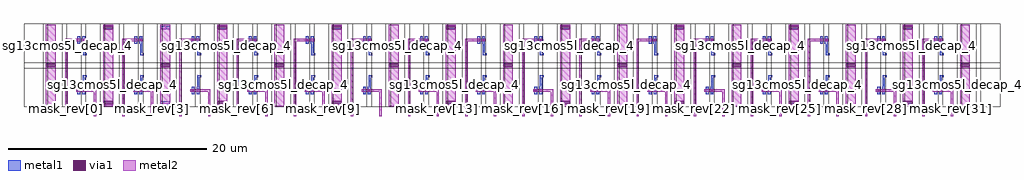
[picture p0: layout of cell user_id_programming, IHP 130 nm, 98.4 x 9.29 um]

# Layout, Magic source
magic
tech ihp-sg13cmos5l
magscale 1 2
<< metal1 >>
rect 2747 1750 2947 1810
rect 1076 1457 1133 1606
rect 1173 1459 1230 1606
rect 1188 1270 1230 1459
rect 2228 1457 2285 1606
rect 2325 1459 2382 1606
rect 2340 1270 2382 1459
rect 3380 1457 3437 1606
rect 3477 1459 3534 1606
rect 3492 1270 3534 1459
rect 4532 1457 4589 1606
rect 4629 1459 4686 1606
rect 4644 1270 4686 1459
rect 5684 1457 5741 1606
rect 5781 1459 5838 1606
rect 5796 1270 5838 1459
rect 6836 1457 6893 1606
rect 6933 1459 6990 1606
rect 6948 1270 6990 1459
rect 7988 1457 8045 1606
rect 8085 1459 8142 1606
rect 8100 1270 8142 1459
rect 9140 1457 9197 1606
rect 9237 1459 9294 1606
rect 9252 1270 9294 1459
rect 10292 1457 10349 1606
rect 10389 1459 10446 1606
rect 10404 1270 10446 1459
rect 11444 1457 11501 1606
rect 11541 1459 11598 1606
rect 11556 1270 11598 1459
rect 12596 1457 12653 1606
rect 12693 1459 12750 1606
rect 12708 1270 12750 1459
rect 13748 1457 13805 1606
rect 13845 1459 13902 1606
rect 13860 1270 13902 1459
rect 14900 1457 14957 1606
rect 14997 1459 15054 1606
rect 15012 1270 15054 1459
rect 16052 1457 16109 1606
rect 16149 1459 16206 1606
rect 16164 1270 16206 1459
rect 17204 1457 17261 1606
rect 17301 1459 17358 1606
rect 17316 1270 17358 1459
rect 18356 1457 18413 1606
rect 18453 1459 18510 1606
rect 18468 1270 18510 1459
rect 1188 1226 1267 1270
rect 2340 1226 2419 1270
rect 3492 1226 3571 1270
rect 4644 1226 4723 1270
rect 5796 1226 5875 1270
rect 6948 1226 7027 1270
rect 8100 1226 8179 1270
rect 9252 1226 9331 1270
rect 10404 1226 10483 1270
rect 11556 1226 11635 1270
rect 12708 1226 12787 1270
rect 13860 1226 13939 1270
rect 15012 1226 15091 1270
rect 16164 1226 16243 1270
rect 17316 1226 17395 1270
rect 18468 1226 18547 1270
rect 1188 778 1267 822
rect 2340 778 2419 822
rect 3492 778 3571 822
rect 4644 778 4723 822
rect 5796 778 5875 822
rect 6948 778 7027 822
rect 8100 778 8179 822
rect 9252 778 9331 822
rect 10404 778 10483 822
rect 11556 778 11635 822
rect 12708 778 12787 822
rect 13860 778 13939 822
rect 15012 778 15091 822
rect 16164 778 16243 822
rect 17316 778 17395 822
rect 18468 778 18547 822
rect 1076 442 1133 591
rect 1188 589 1230 778
rect 1175 442 1230 589
rect 2228 442 2285 591
rect 2340 589 2382 778
rect 2327 442 2382 589
rect 3380 442 3437 591
rect 3492 589 3534 778
rect 3479 442 3534 589
rect 4532 442 4589 591
rect 4644 589 4686 778
rect 4631 442 4686 589
rect 5684 442 5741 591
rect 5796 589 5838 778
rect 5783 442 5838 589
rect 6836 442 6893 591
rect 6948 589 6990 778
rect 6935 442 6990 589
rect 7988 442 8045 591
rect 8100 589 8142 778
rect 8087 442 8142 589
rect 9140 442 9197 591
rect 9252 589 9294 778
rect 9239 442 9294 589
rect 10292 442 10349 591
rect 10404 589 10446 778
rect 10391 442 10446 589
rect 11444 442 11501 591
rect 11556 589 11598 778
rect 11543 442 11598 589
rect 12596 442 12653 591
rect 12708 589 12750 778
rect 12695 442 12750 589
rect 13748 442 13805 591
rect 13860 589 13902 778
rect 13847 442 13902 589
rect 14900 442 14957 591
rect 15012 589 15054 778
rect 14999 442 15054 589
rect 16052 442 16109 591
rect 16164 589 16206 778
rect 16151 442 16206 589
rect 17204 442 17261 591
rect 17316 589 17358 778
rect 17303 442 17358 589
rect 18356 442 18413 591
rect 18468 589 18510 778
rect 18455 442 18510 589
rect 2747 238 2947 298
<< via1 >>
rect 1595 1750 1795 1810
rect 3899 1750 4099 1810
rect 6203 1750 6403 1810
rect 8507 1750 8707 1810
rect 10811 1750 11011 1810
rect 13115 1750 13315 1810
rect 15419 1750 15619 1810
rect 17723 1750 17923 1810
rect 443 994 643 1054
rect 2747 994 2947 1054
rect 5051 994 5251 1054
rect 7355 994 7555 1054
rect 9659 994 9859 1054
rect 11963 994 12163 1054
rect 14267 994 14467 1054
rect 16571 994 16771 1054
rect 18875 994 19075 1054
rect 1595 238 1795 298
rect 3899 238 4099 298
rect 6203 238 6403 298
rect 8507 238 8707 298
rect 10811 238 11011 298
rect 13115 238 13315 298
rect 15419 238 15619 298
rect 17723 238 17923 298
<< metal2 >>
rect 443 1054 643 1845
rect 1595 1810 1795 1845
rect 443 198 643 994
rect 831 1508 1251 1556
rect 831 0 879 1508
rect 1049 492 1455 540
rect 1407 0 1455 492
rect 1595 298 1795 1750
rect 1595 198 1795 238
rect 1983 1508 2403 1556
rect 1983 0 2031 1508
rect 2747 1054 2947 1845
rect 3899 1810 4099 1845
rect 2201 492 2607 540
rect 2559 0 2607 492
rect 2747 198 2947 994
rect 3135 1508 3555 1556
rect 3135 0 3183 1508
rect 3353 492 3759 540
rect 3711 0 3759 492
rect 3899 298 4099 1750
rect 3899 198 4099 238
rect 4287 1508 4707 1556
rect 4287 0 4335 1508
rect 5051 1054 5251 1845
rect 6203 1810 6403 1845
rect 4505 492 4911 540
rect 4863 0 4911 492
rect 5051 198 5251 994
rect 5439 1508 5859 1556
rect 5439 0 5487 1508
rect 5657 492 6063 540
rect 6015 0 6063 492
rect 6203 298 6403 1750
rect 6203 198 6403 238
rect 6591 1508 7011 1556
rect 6591 0 6639 1508
rect 7355 1054 7555 1845
rect 8507 1810 8707 1845
rect 6809 492 7215 540
rect 7167 0 7215 492
rect 7355 198 7555 994
rect 7743 1508 8163 1556
rect 7743 0 7791 1508
rect 7961 492 8367 540
rect 8319 0 8367 492
rect 8507 298 8707 1750
rect 8507 198 8707 238
rect 8895 1508 9315 1556
rect 8895 0 8943 1508
rect 9659 1054 9859 1845
rect 10811 1810 11011 1845
rect 9113 492 9519 540
rect 9471 0 9519 492
rect 9659 198 9859 994
rect 10047 1508 10467 1556
rect 10047 0 10095 1508
rect 10265 492 10671 540
rect 10623 0 10671 492
rect 10811 298 11011 1750
rect 10811 198 11011 238
rect 11199 1508 11619 1556
rect 11199 0 11247 1508
rect 11963 1054 12163 1845
rect 13115 1810 13315 1845
rect 11417 492 11823 540
rect 11775 0 11823 492
rect 11963 198 12163 994
rect 12351 1508 12771 1556
rect 12351 0 12399 1508
rect 12569 492 12975 540
rect 12927 0 12975 492
rect 13115 298 13315 1750
rect 13115 198 13315 238
rect 13503 1508 13923 1556
rect 13503 0 13551 1508
rect 14267 1054 14467 1845
rect 15419 1810 15619 1845
rect 13721 492 14127 540
rect 14079 0 14127 492
rect 14267 198 14467 994
rect 14655 1508 15075 1556
rect 14655 0 14703 1508
rect 14873 492 15279 540
rect 15231 0 15279 492
rect 15419 298 15619 1750
rect 15419 198 15619 238
rect 15807 1508 16227 1556
rect 15807 0 15855 1508
rect 16571 1054 16771 1845
rect 17723 1810 17923 1845
rect 16025 492 16431 540
rect 16383 0 16431 492
rect 16571 198 16771 994
rect 16959 1508 17379 1556
rect 16959 0 17007 1508
rect 17177 492 17583 540
rect 17535 0 17583 492
rect 17723 298 17923 1750
rect 17723 198 17923 238
rect 18111 1508 18531 1556
rect 18111 0 18159 1508
rect 18875 1054 19075 1845
rect 18329 492 18735 540
rect 18687 0 18735 492
rect 18875 198 19075 994
use sg13cmos5l_decap_4  sg13cmos5l_decap_4_0 sg13cmos5l_stdcell
transform 1 0 48 0 1 1024
box -48 -56 432 834
use sg13cmos5l_decap_4  sg13cmos5l_decap_4_1
transform 1 0 432 0 1 1024
box -48 -56 432 834
use sg13cmos5l_decap_4  sg13cmos5l_decap_4_2
transform 1 0 1584 0 1 1024
box -48 -56 432 834
use sg13cmos5l_decap_4  sg13cmos5l_decap_4_3
transform 1 0 2736 0 1 1024
box -48 -56 432 834
use sg13cmos5l_decap_4  sg13cmos5l_decap_4_4
transform 1 0 3888 0 1 1024
box -48 -56 432 834
use sg13cmos5l_decap_4  sg13cmos5l_decap_4_5
transform 1 0 5040 0 1 1024
box -48 -56 432 834
use sg13cmos5l_decap_4  sg13cmos5l_decap_4_6
transform 1 0 6192 0 1 1024
box -48 -56 432 834
use sg13cmos5l_decap_4  sg13cmos5l_decap_4_7
transform 1 0 7344 0 1 1024
box -48 -56 432 834
use sg13cmos5l_decap_4  sg13cmos5l_decap_4_8
transform 1 0 8496 0 1 1024
box -48 -56 432 834
use sg13cmos5l_decap_4  sg13cmos5l_decap_4_9
transform 1 0 9648 0 1 1024
box -48 -56 432 834
use sg13cmos5l_decap_4  sg13cmos5l_decap_4_10
transform 1 0 10800 0 1 1024
box -48 -56 432 834
use sg13cmos5l_decap_4  sg13cmos5l_decap_4_11
transform 1 0 11952 0 1 1024
box -48 -56 432 834
use sg13cmos5l_decap_4  sg13cmos5l_decap_4_12
transform 1 0 13104 0 1 1024
box -48 -56 432 834
use sg13cmos5l_decap_4  sg13cmos5l_decap_4_13
transform 1 0 14256 0 1 1024
box -48 -56 432 834
use sg13cmos5l_decap_4  sg13cmos5l_decap_4_14
transform 1 0 15408 0 1 1024
box -48 -56 432 834
use sg13cmos5l_decap_4  sg13cmos5l_decap_4_15
transform 1 0 16560 0 1 1024
box -48 -56 432 834
use sg13cmos5l_decap_4  sg13cmos5l_decap_4_16
transform 1 0 17712 0 1 1024
box -48 -56 432 834
use sg13cmos5l_decap_4  sg13cmos5l_decap_4_17
transform 1 0 18864 0 1 1024
box -48 -56 432 834
use sg13cmos5l_decap_4  sg13cmos5l_decap_4_18
transform 1 0 19248 0 1 1024
box -48 -56 432 834
use sg13cmos5l_decap_4  sg13cmos5l_decap_4_21
transform 1 0 18864 0 -1 1024
box -48 -56 432 834
use sg13cmos5l_decap_4  sg13cmos5l_decap_4_22
transform 1 0 19248 0 -1 1024
box -48 -56 432 834
use sg13cmos5l_decap_4  sg13cmos5l_decap_4_23
transform 1 0 17712 0 -1 1024
box -48 -56 432 834
use sg13cmos5l_decap_4  sg13cmos5l_decap_4_24
transform 1 0 16560 0 -1 1024
box -48 -56 432 834
use sg13cmos5l_decap_4  sg13cmos5l_decap_4_25
transform 1 0 15408 0 -1 1024
box -48 -56 432 834
use sg13cmos5l_decap_4  sg13cmos5l_decap_4_26
transform 1 0 14256 0 -1 1024
box -48 -56 432 834
use sg13cmos5l_decap_4  sg13cmos5l_decap_4_27
transform 1 0 13104 0 -1 1024
box -48 -56 432 834
use sg13cmos5l_decap_4  sg13cmos5l_decap_4_28
transform 1 0 11952 0 -1 1024
box -48 -56 432 834
use sg13cmos5l_decap_4  sg13cmos5l_decap_4_29
transform 1 0 10800 0 -1 1024
box -48 -56 432 834
use sg13cmos5l_decap_4  sg13cmos5l_decap_4_30
transform 1 0 9648 0 -1 1024
box -48 -56 432 834
use sg13cmos5l_decap_4  sg13cmos5l_decap_4_31
transform 1 0 8496 0 -1 1024
box -48 -56 432 834
use sg13cmos5l_decap_4  sg13cmos5l_decap_4_32
transform 1 0 7344 0 -1 1024
box -48 -56 432 834
use sg13cmos5l_decap_4  sg13cmos5l_decap_4_33
transform 1 0 6192 0 -1 1024
box -48 -56 432 834
use sg13cmos5l_decap_4  sg13cmos5l_decap_4_34
transform 1 0 5040 0 -1 1024
box -48 -56 432 834
use sg13cmos5l_decap_4  sg13cmos5l_decap_4_35
transform 1 0 3888 0 -1 1024
box -48 -56 432 834
use sg13cmos5l_decap_4  sg13cmos5l_decap_4_36
transform 1 0 2736 0 -1 1024
box -48 -56 432 834
use sg13cmos5l_decap_4  sg13cmos5l_decap_4_37
transform 1 0 1584 0 -1 1024
box -48 -56 432 834
use sg13cmos5l_decap_4  sg13cmos5l_decap_4_38
transform 1 0 432 0 -1 1024
box -48 -56 432 834
use sg13cmos5l_decap_4  sg13cmos5l_decap_4_39
transform 1 0 48 0 -1 1024
box -48 -56 432 834
use sg13cmos5l_tiehi  sg13cmos5l_tiehi_0 sg13cmos5l_stdcell
transform 1 0 816 0 1 1024
box -48 -56 432 834
use sg13cmos5l_tiehi  sg13cmos5l_tiehi_1
transform 1 0 1968 0 1 1024
box -48 -56 432 834
use sg13cmos5l_tiehi  sg13cmos5l_tiehi_2
transform 1 0 3120 0 1 1024
box -48 -56 432 834
use sg13cmos5l_tiehi  sg13cmos5l_tiehi_3
transform 1 0 4272 0 1 1024
box -48 -56 432 834
use sg13cmos5l_tiehi  sg13cmos5l_tiehi_4
transform 1 0 5424 0 1 1024
box -48 -56 432 834
use sg13cmos5l_tiehi  sg13cmos5l_tiehi_5
transform 1 0 6576 0 1 1024
box -48 -56 432 834
use sg13cmos5l_tiehi  sg13cmos5l_tiehi_6
transform 1 0 7728 0 1 1024
box -48 -56 432 834
use sg13cmos5l_tiehi  sg13cmos5l_tiehi_7
transform 1 0 8880 0 1 1024
box -48 -56 432 834
use sg13cmos5l_tiehi  sg13cmos5l_tiehi_8
transform 1 0 10032 0 1 1024
box -48 -56 432 834
use sg13cmos5l_tiehi  sg13cmos5l_tiehi_9
transform 1 0 11184 0 1 1024
box -48 -56 432 834
use sg13cmos5l_tiehi  sg13cmos5l_tiehi_10
transform 1 0 12336 0 1 1024
box -48 -56 432 834
use sg13cmos5l_tiehi  sg13cmos5l_tiehi_11
transform 1 0 13488 0 1 1024
box -48 -56 432 834
use sg13cmos5l_tiehi  sg13cmos5l_tiehi_12
transform 1 0 14640 0 1 1024
box -48 -56 432 834
use sg13cmos5l_tiehi  sg13cmos5l_tiehi_13
transform 1 0 15792 0 1 1024
box -48 -56 432 834
use sg13cmos5l_tiehi  sg13cmos5l_tiehi_14
transform 1 0 16944 0 1 1024
box -48 -56 432 834
use sg13cmos5l_tiehi  sg13cmos5l_tiehi_15
transform 1 0 18096 0 1 1024
box -48 -56 432 834
use sg13cmos5l_tiehi  sg13cmos5l_tiehi_16
transform 1 0 18096 0 -1 1024
box -48 -56 432 834
use sg13cmos5l_tiehi  sg13cmos5l_tiehi_17
transform 1 0 16944 0 -1 1024
box -48 -56 432 834
use sg13cmos5l_tiehi  sg13cmos5l_tiehi_18
transform 1 0 15792 0 -1 1024
box -48 -56 432 834
use sg13cmos5l_tiehi  sg13cmos5l_tiehi_19
transform 1 0 14640 0 -1 1024
box -48 -56 432 834
use sg13cmos5l_tiehi  sg13cmos5l_tiehi_20
transform 1 0 13488 0 -1 1024
box -48 -56 432 834
use sg13cmos5l_tiehi  sg13cmos5l_tiehi_21
transform 1 0 12336 0 -1 1024
box -48 -56 432 834
use sg13cmos5l_tiehi  sg13cmos5l_tiehi_22
transform 1 0 11184 0 -1 1024
box -48 -56 432 834
use sg13cmos5l_tiehi  sg13cmos5l_tiehi_23
transform 1 0 10032 0 -1 1024
box -48 -56 432 834
use sg13cmos5l_tiehi  sg13cmos5l_tiehi_24
transform 1 0 8880 0 -1 1024
box -48 -56 432 834
use sg13cmos5l_tiehi  sg13cmos5l_tiehi_25
transform 1 0 7728 0 -1 1024
box -48 -56 432 834
use sg13cmos5l_tiehi  sg13cmos5l_tiehi_26
transform 1 0 6576 0 -1 1024
box -48 -56 432 834
use sg13cmos5l_tiehi  sg13cmos5l_tiehi_27
transform 1 0 5424 0 -1 1024
box -48 -56 432 834
use sg13cmos5l_tiehi  sg13cmos5l_tiehi_28
transform 1 0 4272 0 -1 1024
box -48 -56 432 834
use sg13cmos5l_tiehi  sg13cmos5l_tiehi_29
transform 1 0 3120 0 -1 1024
box -48 -56 432 834
use sg13cmos5l_tiehi  sg13cmos5l_tiehi_30
transform 1 0 1968 0 -1 1024
box -48 -56 432 834
use sg13cmos5l_tiehi  sg13cmos5l_tiehi_31
transform 1 0 816 0 -1 1024
box -48 -56 432 834
use sg13cmos5l_tielo  sg13cmos5l_tielo_0 sg13cmos5l_stdcell
transform -1 0 1584 0 1 1024
box -48 -56 432 834
use sg13cmos5l_tielo  sg13cmos5l_tielo_1
transform -1 0 2736 0 1 1024
box -48 -56 432 834
use sg13cmos5l_tielo  sg13cmos5l_tielo_2
transform -1 0 3888 0 1 1024
box -48 -56 432 834
use sg13cmos5l_tielo  sg13cmos5l_tielo_3
transform -1 0 5040 0 1 1024
box -48 -56 432 834
use sg13cmos5l_tielo  sg13cmos5l_tielo_4
transform -1 0 6192 0 1 1024
box -48 -56 432 834
use sg13cmos5l_tielo  sg13cmos5l_tielo_5
transform -1 0 7344 0 1 1024
box -48 -56 432 834
use sg13cmos5l_tielo  sg13cmos5l_tielo_6
transform -1 0 8496 0 1 1024
box -48 -56 432 834
use sg13cmos5l_tielo  sg13cmos5l_tielo_7
transform -1 0 9648 0 1 1024
box -48 -56 432 834
use sg13cmos5l_tielo  sg13cmos5l_tielo_8
transform -1 0 10800 0 1 1024
box -48 -56 432 834
use sg13cmos5l_tielo  sg13cmos5l_tielo_9
transform -1 0 11952 0 1 1024
box -48 -56 432 834
use sg13cmos5l_tielo  sg13cmos5l_tielo_10
transform -1 0 13104 0 1 1024
box -48 -56 432 834
use sg13cmos5l_tielo  sg13cmos5l_tielo_11
transform -1 0 14256 0 1 1024
box -48 -56 432 834
use sg13cmos5l_tielo  sg13cmos5l_tielo_12
transform -1 0 15408 0 1 1024
box -48 -56 432 834
use sg13cmos5l_tielo  sg13cmos5l_tielo_13
transform -1 0 16560 0 1 1024
box -48 -56 432 834
use sg13cmos5l_tielo  sg13cmos5l_tielo_14
transform -1 0 17712 0 1 1024
box -48 -56 432 834
use sg13cmos5l_tielo  sg13cmos5l_tielo_15
transform -1 0 18864 0 1 1024
box -48 -56 432 834
use sg13cmos5l_tielo  sg13cmos5l_tielo_16
transform -1 0 18864 0 -1 1024
box -48 -56 432 834
use sg13cmos5l_tielo  sg13cmos5l_tielo_17
transform -1 0 17712 0 -1 1024
box -48 -56 432 834
use sg13cmos5l_tielo  sg13cmos5l_tielo_18
transform -1 0 16560 0 -1 1024
box -48 -56 432 834
use sg13cmos5l_tielo  sg13cmos5l_tielo_19
transform -1 0 15408 0 -1 1024
box -48 -56 432 834
use sg13cmos5l_tielo  sg13cmos5l_tielo_20
transform -1 0 14256 0 -1 1024
box -48 -56 432 834
use sg13cmos5l_tielo  sg13cmos5l_tielo_21
transform -1 0 13104 0 -1 1024
box -48 -56 432 834
use sg13cmos5l_tielo  sg13cmos5l_tielo_22
transform -1 0 11952 0 -1 1024
box -48 -56 432 834
use sg13cmos5l_tielo  sg13cmos5l_tielo_23
transform -1 0 10800 0 -1 1024
box -48 -56 432 834
use sg13cmos5l_tielo  sg13cmos5l_tielo_24
transform -1 0 9648 0 -1 1024
box -48 -56 432 834
use sg13cmos5l_tielo  sg13cmos5l_tielo_25
transform -1 0 8496 0 -1 1024
box -48 -56 432 834
use sg13cmos5l_tielo  sg13cmos5l_tielo_26
transform -1 0 7344 0 -1 1024
box -48 -56 432 834
use sg13cmos5l_tielo  sg13cmos5l_tielo_27
transform -1 0 6192 0 -1 1024
box -48 -56 432 834
use sg13cmos5l_tielo  sg13cmos5l_tielo_28
transform -1 0 5040 0 -1 1024
box -48 -56 432 834
use sg13cmos5l_tielo  sg13cmos5l_tielo_29
transform -1 0 3888 0 -1 1024
box -48 -56 432 834
use sg13cmos5l_tielo  sg13cmos5l_tielo_30
transform -1 0 2736 0 -1 1024
box -48 -56 432 834
use sg13cmos5l_tielo  sg13cmos5l_tielo_31
transform -1 0 1584 0 -1 1024
box -48 -56 432 834
use user_id_vias  user_id_vias_0
transform 1 0 1084 0 1 492
box 97 -5 17426 1069
<< labels >>
flabel metal2 831 0 879 300 0 FreeSans 480 90 0 0 mask_rev[0]
port 1 nsew
flabel metal2 1407 0 1455 300 0 FreeSans 480 90 0 0 mask_rev[1]
port 2 nsew
flabel metal2 1983 0 2031 300 0 FreeSans 480 90 0 0 mask_rev[2]
port 3 nsew
flabel metal2 2559 0 2607 300 0 FreeSans 480 90 0 0 mask_rev[3]
port 4 nsew
flabel metal2 3135 0 3183 300 0 FreeSans 480 90 0 0 mask_rev[4]
port 5 nsew
flabel metal2 3711 0 3759 300 0 FreeSans 480 90 0 0 mask_rev[5]
port 6 nsew
flabel metal2 4287 0 4335 300 0 FreeSans 480 90 0 0 mask_rev[6]
port 7 nsew
flabel metal2 4863 0 4911 300 0 FreeSans 480 90 0 0 mask_rev[7]
port 8 nsew
flabel metal2 5439 0 5487 300 0 FreeSans 480 90 0 0 mask_rev[8]
port 9 nsew
flabel metal2 6015 0 6063 300 0 FreeSans 480 90 0 0 mask_rev[9]
port 10 nsew
flabel metal2 6591 0 6639 300 0 FreeSans 480 90 0 0 mask_rev[10]
port 11 nsew
flabel metal2 7167 0 7215 300 0 FreeSans 480 90 0 0 mask_rev[11]
port 12 nsew
flabel metal2 8319 0 8367 300 0 FreeSans 480 90 0 0 mask_rev[13]
port 14 nsew
flabel metal2 8895 0 8943 300 0 FreeSans 480 90 0 0 mask_rev[14]
port 15 nsew
flabel metal2 9471 0 9519 300 0 FreeSans 480 90 0 0 mask_rev[15]
port 16 nsew
flabel metal2 10047 0 10095 300 0 FreeSans 480 90 0 0 mask_rev[16]
port 17 nsew
flabel metal2 10623 0 10671 300 0 FreeSans 480 90 0 0 mask_rev[17]
port 18 nsew
flabel metal2 11199 0 11247 300 0 FreeSans 480 90 0 0 mask_rev[18]
port 19 nsew
flabel metal2 11775 0 11823 300 0 FreeSans 480 90 0 0 mask_rev[19]
port 20 nsew
flabel metal2 12351 0 12399 300 0 FreeSans 480 90 0 0 mask_rev[20]
port 21 nsew
flabel metal2 12927 0 12975 300 0 FreeSans 480 90 0 0 mask_rev[21]
port 22 nsew
flabel metal2 13503 0 13551 300 0 FreeSans 480 90 0 0 mask_rev[22]
port 23 nsew
flabel metal2 14079 0 14127 300 0 FreeSans 480 90 0 0 mask_rev[23]
port 24 nsew
flabel metal2 14655 0 14703 300 0 FreeSans 480 90 0 0 mask_rev[24]
port 25 nsew
flabel metal2 15231 0 15279 300 0 FreeSans 480 90 0 0 mask_rev[25]
port 26 nsew
flabel metal2 15807 0 15855 300 0 FreeSans 480 90 0 0 mask_rev[26]
port 27 nsew
flabel metal2 16383 0 16431 300 0 FreeSans 480 90 0 0 mask_rev[27]
port 28 nsew
flabel metal2 16959 0 17007 300 0 FreeSans 480 90 0 0 mask_rev[28]
port 29 nsew
flabel metal2 17535 0 17583 300 0 FreeSans 480 90 0 0 mask_rev[29]
port 30 nsew
flabel metal2 18111 0 18159 300 0 FreeSans 480 90 0 0 mask_rev[30]
port 31 nsew
flabel metal2 7743 0 7791 300 0 FreeSans 480 90 0 0 mask_rev[12]
port 13 nsew
flabel metal2 18687 0 18735 300 0 FreeSans 480 90 0 0 mask_rev[31]
port 32 nsew
<< end >>

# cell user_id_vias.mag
magic
tech ihp-sg13cmos5l
magscale 1 2
<< via1 >>
rect 97 1020 137 1060
rect 1249 1020 1289 1060
rect 2304 1020 2344 1060
rect 3553 1020 3593 1060
rect 4608 1020 4648 1060
rect 5857 1020 5897 1060
rect 7009 1020 7049 1060
rect 8161 1020 8201 1060
rect 9313 1020 9353 1060
rect 10368 1020 10408 1060
rect 11617 1020 11657 1060
rect 12769 1020 12809 1060
rect 13921 1020 13961 1060
rect 15073 1020 15113 1060
rect 16225 1020 16265 1060
rect 17377 1020 17417 1060
rect 97 4 137 44
rect 1249 4 1289 44
rect 2304 4 2344 44
rect 3553 4 3593 44
rect 4608 4 4648 44
rect 5857 4 5897 44
rect 7009 4 7049 44
rect 8161 4 8201 44
rect 9216 4 9256 44
rect 10465 4 10505 44
rect 11520 4 11560 44
rect 12769 4 12809 44
rect 13921 4 13961 44
rect 15073 4 15113 44
rect 16128 4 16168 44
rect 17377 4 17417 44
<< properties >>
string FIXED_BBOX 0 0 17425 1064
<< end >>
